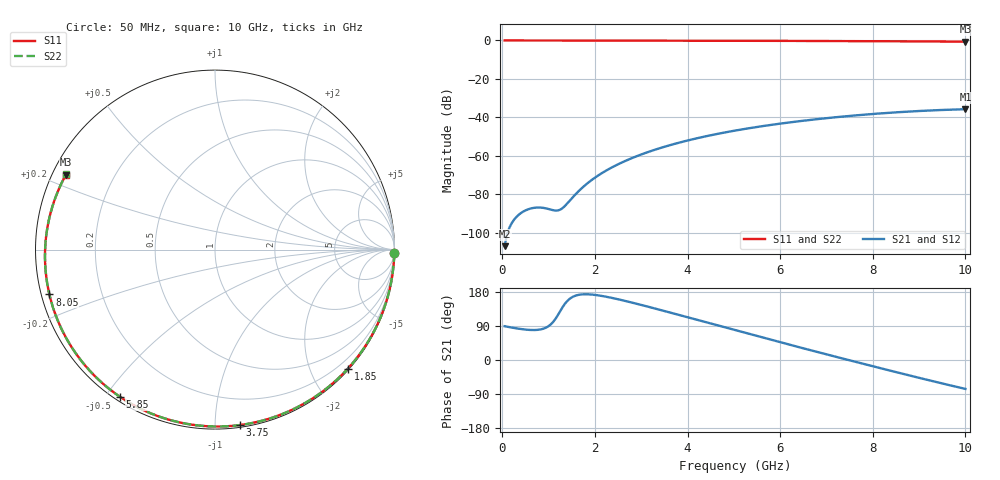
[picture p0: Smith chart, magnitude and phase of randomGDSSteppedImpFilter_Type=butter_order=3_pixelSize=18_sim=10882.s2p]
! freq	dB(S11)	phase(S11)	dB(S12)	phase(S12)
!  dB(S21)	phase(S21)	dB(S22)	phase(S22)
!S-par simulation data
#  GHz  S  DB  R 50
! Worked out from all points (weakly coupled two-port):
!   200 points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, 50 MHz to 10 GHz, reference 50 ohm
!   highest |S21| = -35.80 dB at 10 GHz (marker M1); lowest = -107.1 dB at 50 MHz (marker M2)
!   lowest |S11| = -0.6 dB at 10 GHz (marker M3), VSWR 27.41, Z = 1.93 + j11.8 ohm
!   |S11| at or under -10 dB: nowhere
!   |S22| runs from -0.6 to 0.0 dB; largest |S21 - S12| = 0
!   S11 on the Smith chart (normalised r, x): 50 MHz: open; 1.85 GHz: 0.02, -2.62; 3.75 GHz: 0.01, -1.15; 5.85 GHz: 0.02, -0.55; 8.05 GHz: 0.02, -0.13; 10 GHz: 0.04, +0.24
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0.05  -0.00 -1.1  -107.11 89.2  -107.11 89.2  -0.00 -1.1
0.8  -0.02 -18.3  -86.98 80.2  -86.98 80.2  -0.02 -18.3
1.55  -0.04 -35.2  -80.92 168.3  -80.92 168.3  -0.04 -35.2
1.6  -0.05 -36.3  -79.64 170.5  -79.64 170.5  -0.05 -36.3
1.75  -0.05 -39.6  -76.18 173.4  -76.18 173.4  -0.05 -39.7
1.85  -0.05 -41.8  -74.15 173.4  -74.15 173.4  -0.05 -41.9
2.15  -0.06 -48.4  -69.08 169.0  -69.08 169.0  -0.06 -48.4
2.5  -0.07 -55.9  -64.47 160.3  -64.47 160.3  -0.07 -56.0
2.9  -0.08 -64.4  -60.29 148.4  -60.29 148.4  -0.08 -64.4
3.4  -0.10 -74.8  -56.10 132.5  -56.10 132.5  -0.10 -74.8
3.75  -0.11 -81.9  -53.65 121.1  -53.65 121.1  -0.11 -82.0
4.4  -0.14 -94.9  -49.87 99.5  -49.87 99.5  -0.14 -94.9
5.05  -0.17 -107.5  -46.83 78.0  -46.83 78.0  -0.17 -107.6
5.85  -0.21 -122.8  -43.81 51.8  -43.81 51.8  -0.21 -122.8
6.7  -0.27 -138.8  -41.24 24.4  -41.24 24.4  -0.27 -138.9
7.4  -0.33 -152.2  -39.52 2.3  -39.52 2.3  -0.33 -152.2
8.05  -0.39 -164.9  -38.20 -18.0  -38.20 -18.0  -0.39 -164.9
8.35  -0.42 -170.9  -37.68 -27.3  -37.68 -27.3  -0.42 -170.9
8.8  -0.48 179.9  -37.00 -41.0  -37.00 -41.0  -0.48 179.8
9.2  -0.53 171.4  -36.50 -53.0  -36.50 -53.0  -0.53 171.3
9.6  -0.58 162.5  -36.10 -64.8  -36.10 -64.8  -0.58 162.5
10  -0.63 153.3  -35.80 -76.3  -35.80 -76.3  -0.63 153.2
